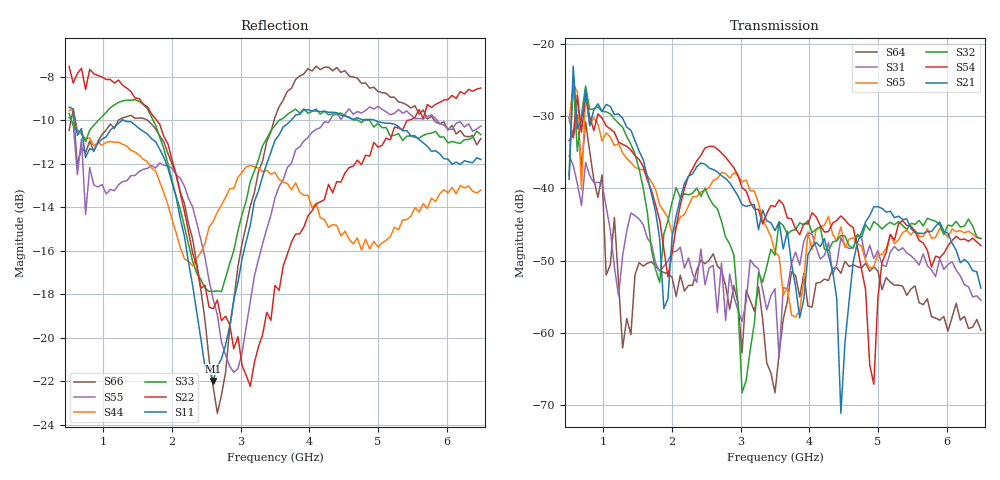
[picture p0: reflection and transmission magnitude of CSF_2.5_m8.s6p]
!Keysight Technologies,M9804A,MY58100912,A.14.10.03
!Date: Thursday, April 27, 2023 10:28:33
!Correction: S11(C  6-Port  )
!S12(C  6-Port  )
!S13(C  6-Port  )
!S14(C  6-Port  )
!S15(C  6-Port  )
!S16(C  6-Port  )
!S21(C  6-Port  )
!S22(C  6-Port  )
!S23(C  6-Port  )
!S24(C  6-Port  )
!S25(C  6-Port  )
!S26(C  6-Port  )
!S31(C  6-Port  )
!S32(C  6-Port  )
!S33(C  6-Port  )
!S34(C  6-Port  )
!S35(C  6-Port  )
!S36(C  6-Port  )
!S41(C  6-Port  )
!S42(C  6-Port  )
!S43(C  6-Port  )
!S44(C  6-Port  )
!S45(C  6-Port  )
!S46(C  6-Port  )
!S51(C  6-Port  )
!S52(C  6-Port  )
!S53(C  6-Port  )
!S54(C  6-Port  )
!S55(C  6-Port  )
!S56(C  6-Port  )
!S61(C  6-Port  )
!S62(C  6-Port  )
!S63(C  6-Port  )
!S64(C  6-Port  )
!S65(C  6-Port  )
!S66(C  6-Port  )
!S6P File: Measurement: :
# Hz S  RI  R 50
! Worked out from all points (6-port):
!   101 points, 500 MHz to 6.5 GHz, reference 50 ohm
!   strongest paths, dB at 500 MHz, 2 GHz, 3.5 GHz, 5 GHz, 6.5 GHz:
!     S21: -38.7, -46.7, -45.8, -42.5, -53.8
!     S54: -33.4, -49.0, -42.5, -55.1, -47.9
!     S32: -38.2, -41.9, -49.3, -45.1, -47.0
!     S65: -30.6, -46.3, -48.8, -49.1, -46.9
!     S31: -35.5, -48.8, -53.9, -48.7, -55.5
!     S64: -30.2, -52.3, -68.3, -51.4, -59.7
!   lowest |S11| = -22.0 dB at 2.6 GHz (marker M1), VSWR 1.17, Z = 42.9 + j2.02 ohm
!   |S11| at or under -10 dB: 585.6 MHz to 1.274 GHz (688 MHz wide, 74 % of centre); 1.293 GHz to 3.737 GHz (2.444 GHz wide, 97.2 % of centre); 4.95 GHz to end of sweep
